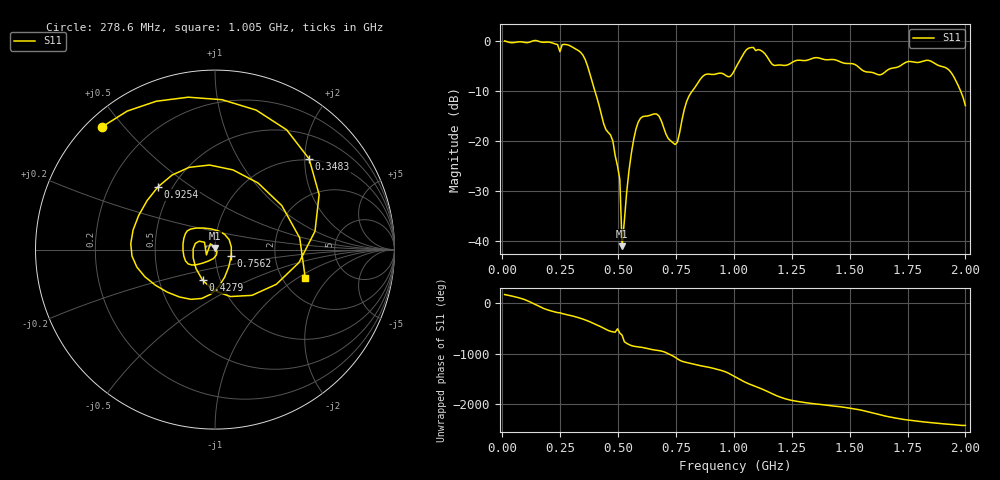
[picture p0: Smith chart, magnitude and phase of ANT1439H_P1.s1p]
!Created with skrf (http://scikit-rf.org).
# Hz S RI R 50.0
!freq ReS11 ImS11
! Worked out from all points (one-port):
!   201 points, 10 MHz to 2 GHz, reference 50 ohm
!   lowest |S11| = -41.1 dB at 517.5 MHz (marker M1), VSWR 1.02, Z = 50.1 + j0.876 ohm
!   |S11| at or under -10 dB: 400.1 MHz to 819.9 MHz (419.8 MHz wide, 68.8 % of centre); 1.98 GHz to end of sweep
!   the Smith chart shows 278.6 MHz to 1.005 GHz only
!   S11 on the Smith chart (normalised r, x): 278.6 MHz: 0.04, +0.44; 348.3 MHz: 0.98, +2.10; 427.9 MHz: 0.82, -0.29; 756.2 MHz: 1.19, -0.09; 925.4 MHz: 0.42, +0.38; 1.005 GHz: 2.65, -1.16
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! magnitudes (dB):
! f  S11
! 10 MHz  0.1
! 209 MHz  -0.2
! 248.8 MHz  -2.1
! 258.8 MHz  -0.6
! 278.6 MHz  -0.6
! 348.3 MHz  -2.8
! 427.9 MHz  -14.7
! 477.6 MHz  -20.0
! 507.5 MHz  -27.7
! 517.5 MHz  -41.1
! 547.3 MHz  -25.9
! 567.2 MHz  -19.7
! 587.1 MHz  -16.2
! 666.7 MHz  -14.6
! 716.5 MHz  -19.5
! 756.2 MHz  -20.2
! 806 MHz  -11.0
! 865.7 MHz  -7.0
! 925.4 MHz  -6.5
! 1.005 GHz  -5.6
! 1.075 GHz  -1.2
! 1.174 GHz  -4.8
! 1.254 GHz  -4.2
! 1.502 GHz  -4.4
! 1.632 GHz  -6.7
! 1.751 GHz  -4.1
! 1.92 GHz  -5.4
! 2 GHz  -12.9
